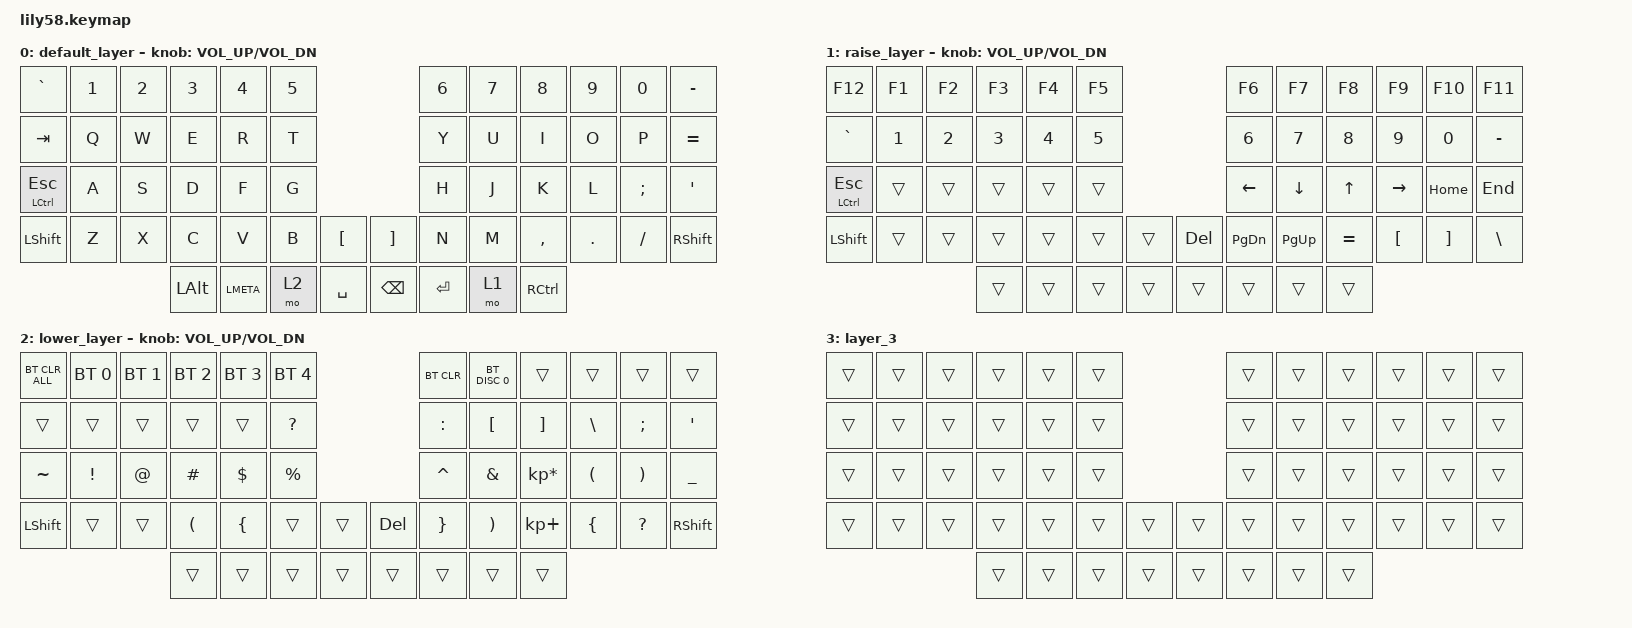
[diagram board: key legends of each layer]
/*
 * Copyright (c) 2020 The ZMK Contributors
 *
 * SPDX-License-Identifier: MIT
 */

#include <behaviors.dtsi>
#include <dt-bindings/zmk/bt.h>
#include <dt-bindings/zmk/keys.h>

/ {
    combos {
        compatible = "zmk,combos";

        combo_clear_bluetooth {
            timeout-ms = <50>;
            key-positions = <52 42 0>;
            bindings = <&bt BT_CLR>;
        };

        // Combo: M (45) + Vírgula (46) = Interrogação (?)
        combo_question {
            timeout-ms = <50>;
            key-positions = <45 46>;
            bindings = <&kp QMARK>;
        };
    };

    keymap {
        compatible = "zmk,keymap";

        default_layer {
            // ------------------------------------------------------------------------------------------------------------
            // |   `      |  1  |  2  |  3   |  4   |  5   |                   |  6   |  7    |  8    |  9   |   0   |   -   |
            // |  TAB     |  Q  |  W  |  E   |  R   |  T   |                   |  Y   |  U    |  I    |  O   |   P   |   =   |
            // |hCTRL tESC|  A  |  S  |  D   |  F   |  G   |                   |  H   |  J    |  K    |  L   |   ;   |   '   |
            // | SHIFT    |  Z  |  X  |  C   |  V   |  B   |   "["  |  |  "]"  |  N   |  M    |  ,    |  .   |   /   | SHIFT |
            //                        | ALT  | GUI  | LOWER|  SPACE |  | BSPC  | ENTER| RAISE | CTRL  |

            bindings = <
&kp GRAVE      &kp N1  &kp N2  &kp N3    &kp N4     &kp N5                         &kp N6   &kp N7  &kp N8     &kp N9   &kp N0    &kp MINUS
&kp TAB        &kp Q   &kp W   &kp E     &kp R      &kp T                          &kp Y    &kp U   &kp I      &kp O    &kp P     &kp EQUAL
&mt LCTRL ESC  &kp A   &kp S   &kp D     &kp F      &kp G                          &kp H    &kp J   &kp K      &kp L    &kp SEMI  &kp SQT
&kp LSHFT      &kp Z   &kp X   &kp C     &kp V      &kp B   &kp LBKT     &kp RBKT  &kp N    &kp M   &kp COMMA  &kp DOT  &kp FSLH  &kp RSHFT
                               &kp LALT  &kp LMETA  &mo 2   &kp SPACE    &kp BSPC  &kp RET  &mo 1   &kp RCTRL
            >;

            sensor-bindings = <&inc_dec_kp C_VOL_UP C_VOL_DN>;
        };

        raise_layer {
            // ------------------------------------------------------------------------------------------------------------
            // |  F12    |  F1 |  F2 |  F3  |  F4  |  F5  |                   |  F6  |   F7  |   F8  |  F9  |  F10  |  F11  |
            // |   `     |  1  |  2  |  3   |  4   |  5   |                   |  6   |   7   |   8   |  9   |   0   | MINUS |
            // |CTRL/ESC |     |     |      |      |      |                   |  <-  |   v   |   ^   |  ->  | HOME  |  END  |
            // | SHIFT   |     |     |      |      |      |        |  |  DEL  | PG_DN| PG_UP |   =   |  [   |   ]   |   \   |
            //                       |      |      |      |        |  |       |      |       |       |

            bindings = <
&kp F12        &kp F1  &kp F2  &kp F3  &kp F4  &kp F5                    &kp F6     &kp F7     &kp F8     &kp F9     &kp F10   &kp F11
&kp GRAVE      &kp N1  &kp N2  &kp N3  &kp N4  &kp N5                    &kp N6     &kp N7     &kp N8     &kp N9     &kp N0    &kp MINUS
&mt LCTRL ESC  &trans  &trans  &trans  &trans  &trans                    &kp LEFT   &kp DOWN   &kp UP     &kp RIGHT  &kp HOME  &kp END
&kp LSHIFT     &trans  &trans  &trans  &trans  &trans  &trans    &kp DEL &kp PG_DN  &kp PG_UP  &kp EQUAL  &kp LBKT   &kp RBKT  &kp BSLH
                               &trans  &trans  &trans  &trans    &trans  &trans     &trans     &trans
            >;

            sensor-bindings = <&inc_dec_kp C_VOL_UP C_VOL_DN>;
        };

        lower_layer {
            // ------------------------------------------------------------------------------------------------------------
            // | BT_CLR_A| BT1     | BT2    |  BT3 |  BT4  |  BT5 |                    |BT_CLR|BT_DISC|       |      |       |       |
            // |         |         |        |      |       |  ?   |                    |  :   |  [    |  ]    |  \   |   ;   |   '   |
            // |   ~     |  !      |  @     |  #   |  $    |  %   |                    |  ^   |  &    |  *    |  (   |   )   |   _   |
            // | SHIFT   |         |        |  (   |  {    |      |       |  |   DEL   |  }   |  )    |  +    |  {   |   ?   | SHIFT |
            //                              |      |       |      |       |  |         |      |       |       |

            bindings = <
&bt BT_CLR_ALL  &bt BT_SEL 0  &bt BT_SEL 1  &bt BT_SEL 2  &bt BT_SEL 3  &bt BT_SEL 4                     &bt BT_CLR  &bt BT_DISC 0  &trans           &trans    &trans    &trans
&trans          &trans        &trans        &trans        &trans        &kp QMARK                        &kp COLON   &kp LBKT       &kp RBKT         &kp BSLH  &kp SEMI  &kp SQT
&kp TILDE       &kp EXCL      &kp AT        &kp HASH      &kp DOLLAR    &kp PRCNT                        &kp CARET   &kp AMPS       &kp KP_MULTIPLY  &kp LPAR  &kp RPAR  &kp UNDER
&kp LSHIFT      &trans        &trans        &kp LPAR      &kp LBRC      &trans        &trans    &kp DEL  &kp RBRC    &kp RPAR       &kp KP_PLUS      &kp LBRC  &kp QMARK &kp RSHFT
                                            &trans        &trans        &trans        &trans    &trans   &trans      &trans         &trans
            >;

            sensor-bindings = <&inc_dec_kp C_VOL_UP C_VOL_DN>;
        };

        layer_3 {
            bindings = <
&trans  &trans  &trans  &trans  &trans  &trans                    &trans  &trans  &trans  &trans  &trans  &trans
&trans  &trans  &trans  &trans  &trans  &trans                    &trans  &trans  &trans  &trans  &trans  &trans
&trans  &trans  &trans  &trans  &trans  &trans                    &trans  &trans  &trans  &trans  &trans  &trans
&trans  &trans  &trans  &trans  &trans  &trans  &trans    &trans  &trans  &trans  &trans  &trans  &trans  &trans
                        &trans  &trans  &trans  &trans    &trans  &trans  &trans  &trans
            >;
        };
    };
};
